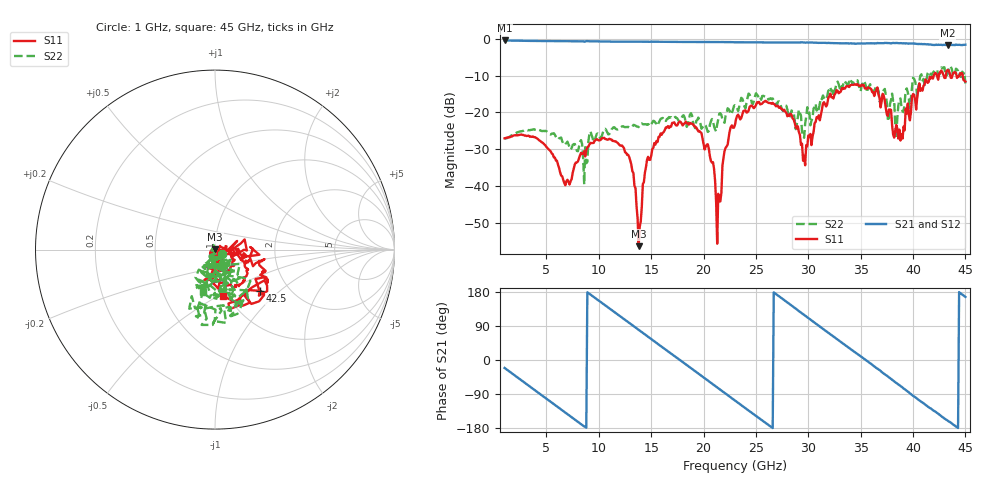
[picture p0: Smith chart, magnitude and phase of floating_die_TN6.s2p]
!Keysight Technologies,N5247B,MY61255062,A.19.80.06
!Date: Monday, May 18, 2026 13:08:40
!Correction: S11(Cdelta 2-Port  )
!S21(Cdelta 2-Port  )
!S12(Cdelta 2-Port  )
!S22(Cdelta 2-Port  )
!S2P File: Measurements: S11, S21, S12, S22:
# Hz S  dB  R 50
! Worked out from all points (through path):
!   441 points, 1 GHz to 45 GHz, reference 50 ohm
!   highest |S21| = -0.40 dB at 1 GHz (marker M1); lowest = -1.7 dB at 43.3 GHz (marker M2)
!   group delay of S21, straight-line fit = 56.4 ps
!   lowest |S11| = -56.4 dB at 13.8 GHz (marker M3), VSWR 1.00, Z = 50.1 + j0.131 ohm
!   |S11| at or under -10 dB: start of sweep to 41.98 GHz; 44.16 GHz to 44.42 GHz (266 MHz wide, 0.601 % of centre); 44.74 GHz to end of sweep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
!   |S22| runs from -39.6 to -7.4 dB; largest |S21 - S12| = 0.017
!   S11 on the Smith chart (normalised r, x): 1 GHz: 1.08, -0.05; 42.5 GHz: 1.43, -0.75; 45 GHz: 0.95, -0.53
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1e9  -27.05 -29.2  -0.40 -21.0  -0.40 -21.0  -27.13 -30.0
4.6e9  -28.19 -128.8  -0.56 -94.1  -0.55 -94.1  -25.08 -113.6
7e9  -38.34 -99.0  -0.61 -142.8  -0.61 -142.8  -27.95 -123.6
8.4e9  -31.28 -76.9  -0.62 -171.3  -0.62 -171.2  -28.60 -89.9
1.22e10  -28.98 -140.0  -0.73 112.1  -0.73 112.1  -23.83 -101.2
1.31e10  -34.19 -168.2  -0.71 93.9  -0.71 93.9  -24.06 -104.5
1.38e10  -56.41 59.6  -0.73 79.5  -0.73 79.5  -24.01 -97.6
1.45e10  -34.88 -0.8  -0.73 65.4  -0.73 65.4  -23.23 -95.7
1.57e10  -26.69 -30.2  -0.76 41.0  -0.76 41.1  -22.91 -101.5
1.96e10  -25.05 -116.7  -0.80 -37.8  -0.80 -37.7  -22.37 -98.3
2.14e10  -42.16 100.6  -0.84 -74.6  -0.84 -74.5  -21.88 -88.5
2.2e10  -30.51 32.2  -0.85 -86.5  -0.85 -86.5  -22.82 -81.0
2.3e10  -23.31 -3.7  -0.90 -107.0  -0.89 -107.0  -18.02 -72.0
2.67e10  -17.68 -64.9  -0.94 178.4  -0.95 178.4  -16.77 -104.8
2.95e10  -33.15 -51.3  -0.94 121.1  -0.93 121.3  -26.49 -61.1
3.04e10  -26.61 -2.2  -0.98 102.5  -0.99 102.6  -21.52 -77.5
3.43e10  -12.48 -49.3  -1.25 23.7  -1.22 23.5  -11.85 -90.5
3.77e10  -19.23 -112.9  -1.14 -45.6  -1.15 -45.4  -22.40 -120.5
3.88e10  -27.64 -13.5  -1.13 -68.4  -1.13 -68.9  -16.19 -50.4
4.25e10  -9.39 -42.8  -1.60 -143.9  -1.59 -143.8  -9.64 -85.5
4.33e10  -8.43 -49.5  -1.69 -159.8  -1.65 -159.3  -9.50 -100.3
4.5e10  -11.59 -80.3  -1.56 166.5  -1.56 166.8  -12.12 -105.6
